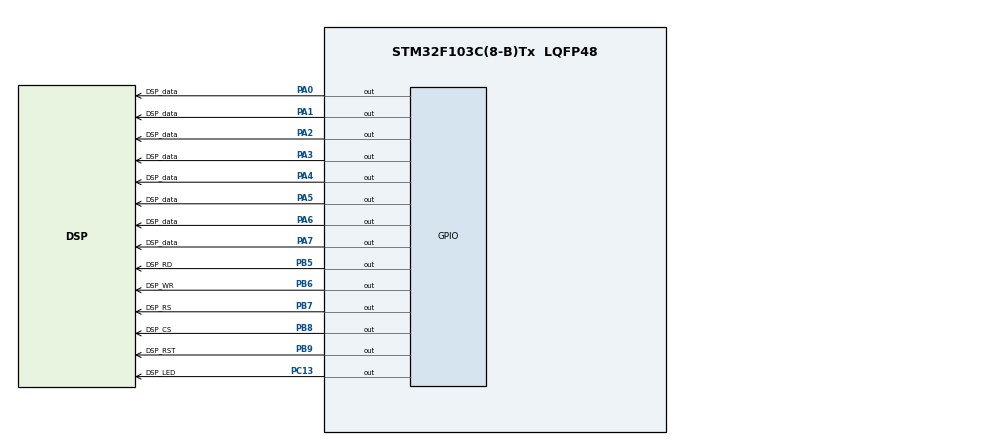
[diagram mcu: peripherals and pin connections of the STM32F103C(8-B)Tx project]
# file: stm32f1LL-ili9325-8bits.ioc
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Mcu.Family=STM32F1
ADC1.SamplingTime-6\#ChannelRegularConversion=ADC_SAMPLETIME_1CYCLE_5
PA2.GPIO_Speed=GPIO_SPEED_FREQ_HIGH
PB9.GPIO_ModeDefaultOutputPP=GPIO_MODE_OUTPUT_PP
PA7.GPIO_ModeDefaultOutputPP=GPIO_MODE_OUTPUT_PP
PA6.GPIO_Label=DSP_data
PB6.GPIO_Label=DSP_WR
PA3.GPIO_Speed=GPIO_SPEED_FREQ_HIGH
PA5.PinState=GPIO_PIN_RESET
RCC.SYSCLKSource=RCC_SYSCLKSOURCE_PLLCLK
ProjectManager.StackSize=0x400
PD1-OSC_OUT.Signal=RCC_OSC_OUT
PA7.PinState=GPIO_PIN_RESET
RCC.HCLKFreq_Value=128000000
RCC.APB2TimFreq_Value=128000000
TIM3.Period=12
PB6.Signal=GPIO_Output
PB5.PinState=GPIO_PIN_RESET
RCC.AHBFreq_Value=128000000
PA0-WKUP.GPIO_Speed=GPIO_SPEED_FREQ_HIGH
RCC.PLLMUL=RCC_PLL_MUL16
PA4.GPIO_Speed=GPIO_SPEED_FREQ_HIGH
VP_ADC1_Vref_Input.Mode=IN-Vrefint
ADC1.Channel-6\#ChannelRegularConversion=ADC_CHANNEL_VREFINT
PA2.PinState=GPIO_PIN_RESET
PC13-TAMPER-RTC.PinState=GPIO_PIN_RESET
PA14.Mode=Serial_Wire
TIM3.Prescaler=120
PB8.PinState=GPIO_PIN_RESET
PB7.Signal=GPIO_Output
PC13-TAMPER-RTC.GPIO_Speed=GPIO_SPEED_FREQ_HIGH
PB7.PinState=GPIO_PIN_RESET
PB7.GPIO_Label=DSP_RS
Mcu.Package=LQFP48
PB9.Signal=GPIO_Output
PA6.Signal=GPIO_Output
PA2.GPIO_ModeDefaultOutputPP=GPIO_MODE_OUTPUT_PP
PA2.GPIO_Label=DSP_data
PB6.GPIO_ModeDefaultOutputPP=GPIO_MODE_OUTPUT_PP
PA1.PinState=GPIO_PIN_RESET
PB8.GPIO_ModeDefaultOutputPP=GPIO_MODE_OUTPUT_PP
PA4.GPIO_ModeDefaultOutputPP=GPIO_MODE_OUTPUT_PP
PA6.GPIO_ModeDefaultOutputPP=GPIO_MODE_OUTPUT_PP
PB5.GPIO_Speed=GPIO_SPEED_FREQ_HIGH
RCC.APB2CLKDivider=RCC_HCLK_DIV2
PB9.GPIO_Speed=GPIO_SPEED_FREQ_HIGH
PB5.GPIO_Label=DSP_RD
RCC.APB1TimFreq_Value=64000000
PA6.GPIO_Speed=GPIO_SPEED_FREQ_HIGH
ADC1.Rank-6\#ChannelRegularConversion=1
PA4.GPIO_Label=DSP_data
VP_TIM3_VS_ClockSourceINT.Mode=Internal
PA3.Signal=GPIO_Output
PB7.GPIO_Speed=GPIO_SPEED_FREQ_HIGH
RCC.PLLSourceVirtual=RCC_PLLSOURCE_HSE
PB5.GPIO_ModeDefaultOutputPP=GPIO_MODE_OUTPUT_PP
PA0-WKUP.GPIO_ModeDefaultOutputPP=GPIO_MODE_OUTPUT_PP
PA3.GPIO_ModeDefaultOutputPP=GPIO_MODE_OUTPUT_PP
PD1-OSC_OUT.Mode=HSE-External-Oscillator
PB9.GPIO_Label=DSP_RST
PC13-TAMPER-RTC.Signal=GPIO_Output
PA6.PinState=GPIO_PIN_RESET
PD0-OSC_IN.Signal=RCC_OSC_IN
RCC.APB1CLKDivider=RCC_HCLK_DIV4
PA0-WKUP.GPIO_Label=DSP_data
PA0-WKUP.Signal=GPIO_Output
RCC.ADCPresc=RCC_ADCPCLK2_DIV4
PA13.Signal=SYS_JTMS-SWDIO
PB8.GPIO_Label=DSP_CS
PA4.PinState=GPIO_PIN_RESET
ProjectManager.TargetToolchain=Makefile
RCC.USBFreq_Value=128000000
PA1.Signal=GPIO_Output
PD0-OSC_IN.Mode=HSE-External-Oscillator
PA5.Signal=GPIO_Output
board=ILI9325
PC13-TAMPER-RTC.GPIO_Label=DSP_LED
PA0-WKUP.PinState=GPIO_PIN_RESET
PA7.GPIO_Speed=GPIO_SPEED_FREQ_HIGH
NVIC.TIM3_IRQn=true\:0\:0\:false\:false\:true\:true\:true
RCC.APB2Freq_Value=64000000
PA5.GPIO_ModeDefaultOutputPP=GPIO_MODE_OUTPUT_PP
PB7.GPIO_ModeDefaultOutputPP=GPIO_MODE_OUTPUT_PP
PA1.GPIO_Speed=GPIO_SPEED_FREQ_HIGH
PA1.GPIO_Label=DSP_data
PA13.Mode=Serial_Wire
Mcu.Name=STM32F103C(8-B)Tx
PA2.Signal=GPIO_Output
PA4.Signal=GPIO_Output
RCC.SYSCLKFreq_VALUE=128000000
PB5.Signal=GPIO_Output
PC13-TAMPER-RTC.GPIO_ModeDefaultOutputPP=GPIO_MODE_OUTPUT_PP
PA7.GPIO_Label=DSP_data
ADC1.master=1
PA5.GPIO_Label=DSP_data
PB6.PinState=GPIO_PIN_RESET
PB9.PinState=GPIO_PIN_RESET
PA14.Signal=SYS_JTCK-SWCLK
ProjectManager.HeapSize=0x200
PA5.GPIO_Speed=GPIO_SPEED_FREQ_HIGH
NVIC.PriorityGroup=NVIC_PRIORITYGROUP_4
ADC1.NbrOfConversionFlag=1
PB8.Signal=GPIO_Output
PA3.PinState=GPIO_PIN_RESET
TIM3.TIM_MasterOutputTrigger=TIM_TRGO_UPDATE
PB6.GPIO_Speed=GPIO_SPEED_FREQ_HIGH
RCC.APB1Freq_Value=32000000
PB8.GPIO_Speed=GPIO_SPEED_FREQ_HIGH
PA3.GPIO_Label=DSP_data
PA7.Signal=GPIO_Output
PA1.GPIO_ModeDefaultOutputPP=GPIO_MODE_OUTPUT_PP

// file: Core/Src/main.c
/* USER CODE BEGIN Header */
/**
  ******************************************************************************
  * @file           : main.c
  * @brief          : Main program body
  ******************************************************************************
  * @attention
  *
  * <h2><center>&copy; Copyright (c) 2020 STMicroelectronics.
  * All rights reserved.</center></h2>
  *
  * This software component is licensed by ST under BSD 3-Clause license,
  * the "License"; You may not use this file except in compliance with the
  * License. You may obtain a copy of the License at:
  *                        opensource.org/licenses/BSD-3-Clause
  *
  ******************************************************************************
  */
/* USER CODE END Header */
#include "main.h"
#include "adc.h"
#include "tim.h"
#include "gpio.h"

/* USER CODE BEGIN Includes */
#include "adc_cfg.h"
#include <math.h>
#include "osc.h"
#include "tft_base.h"
#include "utoa.h"
// #include "myimage.h"

#pragma GCC diagnostic ignored "-Wimplicit-function-declaration"

#define SYSCLK_FREQ_128MHz

/* USER CODE END Includes */

/* USER CODE BEGIN PV */
/* Private variables ---------------------------------------------------------*/
// extern TIM_HandleTypeDef htim3;
extern uint16_t BACK_COLOR,POINT_COLOR;

/* USER CODE END PV */

void SystemClock_Config(void);
/* USER CODE BEGIN PFP */
/* Private function prototypes -----------------------------------------------*/

/* USER CODE END PFP */

/* USER CODE BEGIN 0 */

//++++++++++++++++++++++++++++++++++++++++++++++++++++++++++++++++
#define sinus_points 255
#define minimal_amplitude 5

float PI = 3.14;
uint16_t sin_table_a[sinus_points];
uint16_t sin_table_b[sinus_points];
uint16_t sin_table_c[sinus_points];
float delay_time = 3000.0; // set delay for begin minimal speed

void sin_init(uint16_t i);

void sin_init(uint16_t i)
{
  sin_table_c[(i+(sinus_points/3*1)) & (sinus_points-1)]=
  sin_table_b[(i+(sinus_points/3*2)) & (sinus_points-1)]=
  sin_table_a[(i+(sinus_points/3*3)) & (sinus_points-1)]=
  minimal_amplitude+(uint16_t)((sin((float) i*(2*PI/sinus_points))+1)*(sinus_points/2-1));
}

//++++++++++++++++++++++++++++++++++++++++++++++++++++++++++++++++

/* USER CODE END 0 */

int main(void)
{

  /* MCU Configuration--------------------------------------------------------*/

  /* Reset of all peripherals, Initializes the Flash interface and the Systick. */

  LL_APB2_GRP1_EnableClock(LL_APB2_GRP1_PERIPH_AFIO);
  LL_APB1_GRP1_EnableClock(LL_APB1_GRP1_PERIPH_PWR);

  NVIC_SetPriorityGrouping(NVIC_PRIORITYGROUP_4);

  /* System interrupt init*/

  /** NOJTAG: JTAG-DP Disabled and SW-DP Enabled
  */
  LL_GPIO_AF_Remap_SWJ_NOJTAG();

  /* Configure the system clock */
  SystemClock_Config();

  /* Initialize all configured peripherals */
  MX_GPIO_Init();
  MX_TIM3_Init();
  MX_ADC1_Init();
  /* USER CODE BEGIN 2 */
  ADC_Init(ADC1);
  tft_reset();
  //lcd_model(0x61581, 480, 320);
  lcd_model(0x9325, 240, 320);
  lcdSetup();
  tft_SetRotation(0);
  tft_clear(COLOR_BLACK);

  BACK_COLOR=COLOR_RED;
  POINT_COLOR=COLOR_YELLOW;

  /* USER CODE END 2 */

  /* Infinite loop */
  /* USER CODE BEGIN WHILE */

  for (uint32_t i=0; i<sinus_points; i++)
  {
    sin_init(i);
  }

  tft_SetRotation(1);
  tft_clear(COLOR_BLACK);

  for(uint16_t i = 12; i<get_width()-12 ; i++) // display redraw
  {
    static volatile uint16_t x;
    x=i;
    if(x>sinus_points) x-=sinus_points;

    tft_draw_point_big(i, (sin_table_a[x]/3)+60, COLOR_RED); // draw new ray;
    tft_draw_point_big(i, (sin_table_b[x]/2)+60, COLOR_GREEN); // draw new ray;
    tft_draw_point_big(i, (sin_table_c[x]/2)+60, COLOR_BLUE); // draw new ray;
  }
  delay(500);

  oscil_init();

  while (1)
  {
    /* USER CODE END WHILE */

    /* USER CODE BEGIN 3 */
    oscil_run();
  }
  /* USER CODE END 3 */
}

void SystemClock_Config(void)
{
  LL_FLASH_SetLatency(LL_FLASH_LATENCY_2);
  while(LL_FLASH_GetLatency()!= LL_FLASH_LATENCY_2)
  {
  }
  LL_RCC_HSE_Enable();

   /* Wait till HSE is ready */
  while(LL_RCC_HSE_IsReady() != 1)
  {

  }
  LL_RCC_PLL_ConfigDomain_SYS(LL_RCC_PLLSOURCE_HSE_DIV_1, LL_RCC_PLL_MUL_16);
  LL_RCC_PLL_Enable();

   /* Wait till PLL is ready */
  while(LL_RCC_PLL_IsReady() != 1)
  {

  }
  LL_RCC_SetAHBPrescaler(LL_RCC_SYSCLK_DIV_1);
  LL_RCC_SetAPB1Prescaler(LL_RCC_APB1_DIV_4);
  LL_RCC_SetAPB2Prescaler(LL_RCC_APB2_DIV_2);
  LL_RCC_SetSysClkSource(LL_RCC_SYS_CLKSOURCE_PLL);

   /* Wait till System clock is ready */
  while(LL_RCC_GetSysClkSource() != LL_RCC_SYS_CLKSOURCE_STATUS_PLL)
  {

  }
  LL_Init1msTick(128000000);
  LL_SetSystemCoreClock(128000000);
  LL_RCC_SetADCClockSource(LL_RCC_ADC_CLKSRC_PCLK2_DIV_4);
}

void Error_Handler(void)
{
  while(1)
  {
  }
}

/************************ (C) COPYRIGHT STMicroelectronics *****END OF FILE****/
